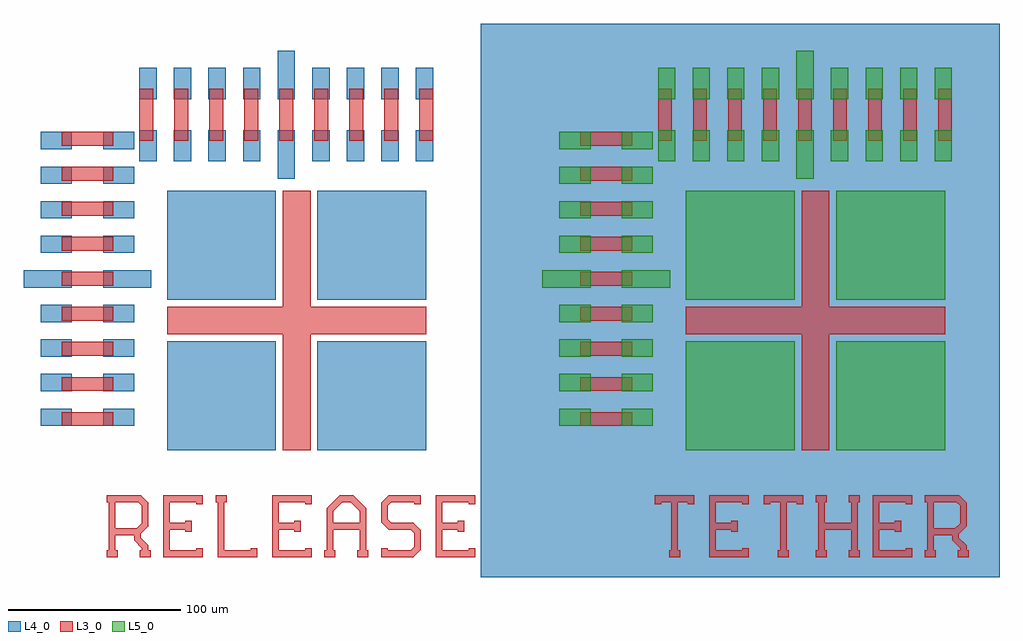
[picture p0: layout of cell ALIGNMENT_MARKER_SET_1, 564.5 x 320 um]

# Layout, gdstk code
import gdstk
lib = gdstk.Library(unit=1e-6, precision=5e-09)
def R(c, l, rs):  # rectangles x0, y0, x1, y1
    for r in rs: c.add(gdstk.rectangle(r[:2], r[2:], *l))
def A(c, l, x, y, w, h, nx, ny, dx, dy):  # array of equal rectangles
    R(c, l, [(x+i*dx, y+j*dy, x+i*dx+w, y+j*dy+h) for i in range(nx) for j in range(ny)])
def P(c, l, *ps):  # polygons
    for p in ps: c.add(gdstk.Polygon(p, *l))
L3_0 = (3, 0)
L4_0 = (4, 0)
L5_0 = (5, 0)

alignment_marker_2 = lib.new_cell('ALIGNMENT_MARKER_2')
A(alignment_marker_2, L3_0, -136, -61, 30, 8, 1, 9, 0, 20.25)
A(alignment_marker_2, L3_0, -91, 104, 8, 30, 9, 1, 20.25, 0)
R(alignment_marker_2, L3_0, [(-109.93,-136.925,-103.57,-133.075), (-90.84,-136.925,-84.475,-133.075), (16.07,-136.925,22.43,-133.075), (35.16,-136.925,41.525,-133.075), (-108.675,-135,-104.825,-103.18), (-64.45,-122.275,-60.6,-115.91), (-1.45,-122.275,2.4,-115.91), (93.05,-122.275,96.9,-115.91), (-75.25,-121.015,-62.525,-117.165), (-12.25,-121.015,0.475,-117.165), (19.25,-121.015,38.34,-117.165), (82.25,-121.015,94.975,-117.165), (-46.93,-105.105,-40.57,-101.255), (-8,-75,8,75), (-75,-8,75,8)])
P(alignment_marker_2, L3_0, [(-109.93,-101.255),(-90.045,-101.255),(-85.735,-105.565),(-85.735,-118.935),(-91,-124.2),(-106.75,-124.2),(-106.75,-120.35),(-92.595,-120.35),(-89.585,-117.34),(-89.585,-107.16),(-91.64,-105.105),(-109.93,-105.105)],
  [(-90.19,-122.275),(-90.19,-125.61),(-85.735,-130.065),(-85.735,-135),(-89.585,-135),(-89.585,-131.66),(-94.04,-127.205),(-94.04,-122.275)],
  [(-54.235,-131.82),(-54.235,-136.925),(-77.175,-136.925),(-77.175,-101.255),(-54.235,-101.255),(-54.235,-106.365),(-58.085,-106.365),(-58.085,-105.105),(-73.325,-105.105),(-73.325,-133.075),(-58.085,-133.075),(-58.085,-131.82)],
  [(-22.735,-131.82),(-22.735,-136.925),(-45.675,-136.925),(-45.675,-103.18),(-41.825,-103.18),(-41.825,-133.075),(-26.585,-133.075),(-26.585,-131.82)],
  [(8.765,-131.82),(8.765,-136.925),(-14.175,-136.925),(-14.175,-101.255),(8.765,-101.255),(8.765,-106.365),(4.915,-106.365),(4.915,-105.105),(-10.325,-105.105),(-10.325,-133.075),(4.915,-133.075),(4.915,-131.82)],
  [(17.325,-135),(17.325,-108.75),(24.815,-101.255),(32.775,-101.255),(40.265,-108.75),(40.265,-135),(36.415,-135),(36.415,-110.345),(31.18,-105.105),(26.41,-105.105),(21.175,-110.345),(21.175,-135)],
  [(52.675,-131.82),(52.675,-133.075),(65.86,-133.075),(67.915,-131.02),(67.915,-123.07),(65.86,-121.015),(53.135,-121.015),(48.825,-116.705),(48.825,-105.565),(53.135,-101.255),(71.765,-101.255),(71.765,-106.365),(67.915,-106.365),(67.915,-105.105),(54.73,-105.105),(52.675,-107.16),(52.675,-115.11),(54.73,-117.165),(67.455,-117.165),(71.765,-121.475),(71.765,-132.615),(67.455,-136.925),(48.825,-136.925),(48.825,-131.82)],
  [(103.265,-131.82),(103.265,-136.925),(80.325,-136.925),(80.325,-101.255),(103.265,-101.255),(103.265,-106.365),(99.415,-106.365),(99.415,-105.105),(84.175,-105.105),(84.175,-133.075),(99.415,-133.075),(99.415,-131.82)])

alignment_marker_3 = lib.new_cell('ALIGNMENT_MARKER_3')
A(alignment_marker_3, L4_0, -148, -61, 18, 10, 1, 4, 0, 20)
A(alignment_marker_3, L4_0, -112, -61, 18, 10, 1, 4, 0, 20)
A(alignment_marker_3, L4_0, -148, 39, 18, 10, 1, 4, 0, 20)
A(alignment_marker_3, L4_0, -112, 39, 18, 10, 1, 4, 0, 20)
A(alignment_marker_3, L4_0, -91, 92, 10, 18, 4, 2, 20, 36)
A(alignment_marker_3, L4_0, 9, 92, 10, 18, 4, 2, 20, 36)
R(alignment_marker_3, L4_0, [(-75,-75,-12,-12), (12,-75,75,-12), (-75,12,-12,75), (12,12,75,75), (-158,19,-130,29), (-112,19,-84,29), (-11,82,-1,110), (-11,128,-1,156)])

alignment_marker_4 = lib.new_cell('ALIGNMENT_MARKER_4')
A(alignment_marker_4, L3_0, -136, -61, 30, 8, 1, 9, 0, 20.25)
A(alignment_marker_4, L3_0, -91, 104, 8, 30, 9, 1, 20.25, 0)
R(alignment_marker_4, L3_0, [(-84.635,-136.925,-78.275,-133.075), (-21.635,-136.925,-15.275,-133.075), (0.32,-136.925,6.68,-133.075), (19.41,-136.925,25.775,-133.075), (63.32,-136.925,69.68,-133.075), (82.41,-136.925,88.775,-133.075), (-83.38,-135,-79.53,-103.18), (-20.38,-135,-16.53,-103.18), (1.575,-135,5.425,-103.18), (20.665,-135,24.515,-103.18), (64.575,-135,68.425,-103.18), (-48.7,-122.275,-44.85,-115.91), (45.8,-122.275,49.65,-115.91), (-59.5,-121.015,-46.775,-117.165), (3.5,-121.015,22.59,-117.165), (35,-121.015,47.725,-117.165), (0.32,-105.105,6.68,-101.255), (19.41,-105.105,25.775,-101.255), (-8,-75,8,75), (-75,-8,75,8)])
P(alignment_marker_4, L3_0, [(-92.925,-106.365),(-92.925,-101.255),(-69.985,-101.255),(-69.985,-106.365),(-73.835,-106.365),(-73.835,-105.105),(-89.075,-105.105),(-89.075,-106.365)],
  [(-38.485,-131.82),(-38.485,-136.925),(-61.425,-136.925),(-61.425,-101.255),(-38.485,-101.255),(-38.485,-106.365),(-42.335,-106.365),(-42.335,-105.105),(-57.575,-105.105),(-57.575,-133.075),(-42.335,-133.075),(-42.335,-131.82)],
  [(-29.925,-106.365),(-29.925,-101.255),(-6.985,-101.255),(-6.985,-106.365),(-10.835,-106.365),(-10.835,-105.105),(-26.075,-105.105),(-26.075,-106.365)],
  [(56.015,-131.82),(56.015,-136.925),(33.075,-136.925),(33.075,-101.255),(56.015,-101.255),(56.015,-106.365),(52.165,-106.365),(52.165,-105.105),(36.925,-105.105),(36.925,-133.075),(52.165,-133.075),(52.165,-131.82)],
  [(63.32,-101.255),(83.205,-101.255),(87.515,-105.565),(87.515,-118.935),(82.25,-124.2),(66.5,-124.2),(66.5,-120.35),(80.655,-120.35),(83.665,-117.34),(83.665,-107.16),(81.61,-105.105),(63.32,-105.105)],
  [(83.06,-122.275),(83.06,-125.61),(87.515,-130.065),(87.515,-135),(83.665,-135),(83.665,-131.66),(79.21,-127.205),(79.21,-122.275)])

alignment_marker_5 = lib.new_cell('ALIGNMENT_MARKER_5')
R(alignment_marker_5, L4_0, [(-193.5,-148.5,106.5,171.5)])

alignment_marker_6 = lib.new_cell('ALIGNMENT_MARKER_6')
A(alignment_marker_6, L5_0, -148, -61, 18, 10, 1, 4, 0, 20)
A(alignment_marker_6, L5_0, -112, -61, 18, 10, 1, 4, 0, 20)
A(alignment_marker_6, L5_0, -148, 39, 18, 10, 1, 4, 0, 20)
A(alignment_marker_6, L5_0, -112, 39, 18, 10, 1, 4, 0, 20)
A(alignment_marker_6, L5_0, -91, 92, 10, 18, 4, 2, 20, 36)
A(alignment_marker_6, L5_0, 9, 92, 10, 18, 4, 2, 20, 36)
R(alignment_marker_6, L5_0, [(-75,-75,-12,-12), (12,-75,75,-12), (-75,12,-12,75), (12,12,75,75), (-158,19,-130,29), (-112,19,-84,29), (-11,82,-1,110), (-11,128,-1,156)])

alignment_marker_set_1 = lib.new_cell('ALIGNMENT_MARKER_SET_1')
alignment_marker_set_1.add(gdstk.Reference(alignment_marker_2, (0,0)))
alignment_marker_set_1.add(gdstk.Reference(alignment_marker_3, (0,0)))
alignment_marker_set_1.add(gdstk.Reference(alignment_marker_4, (300,0)))
alignment_marker_set_1.add(gdstk.Reference(alignment_marker_5, (300,0)))
alignment_marker_set_1.add(gdstk.Reference(alignment_marker_6, (300,0)))

lib.write_gds('ALIGNMENT_MARKER_SET_1.gds')
